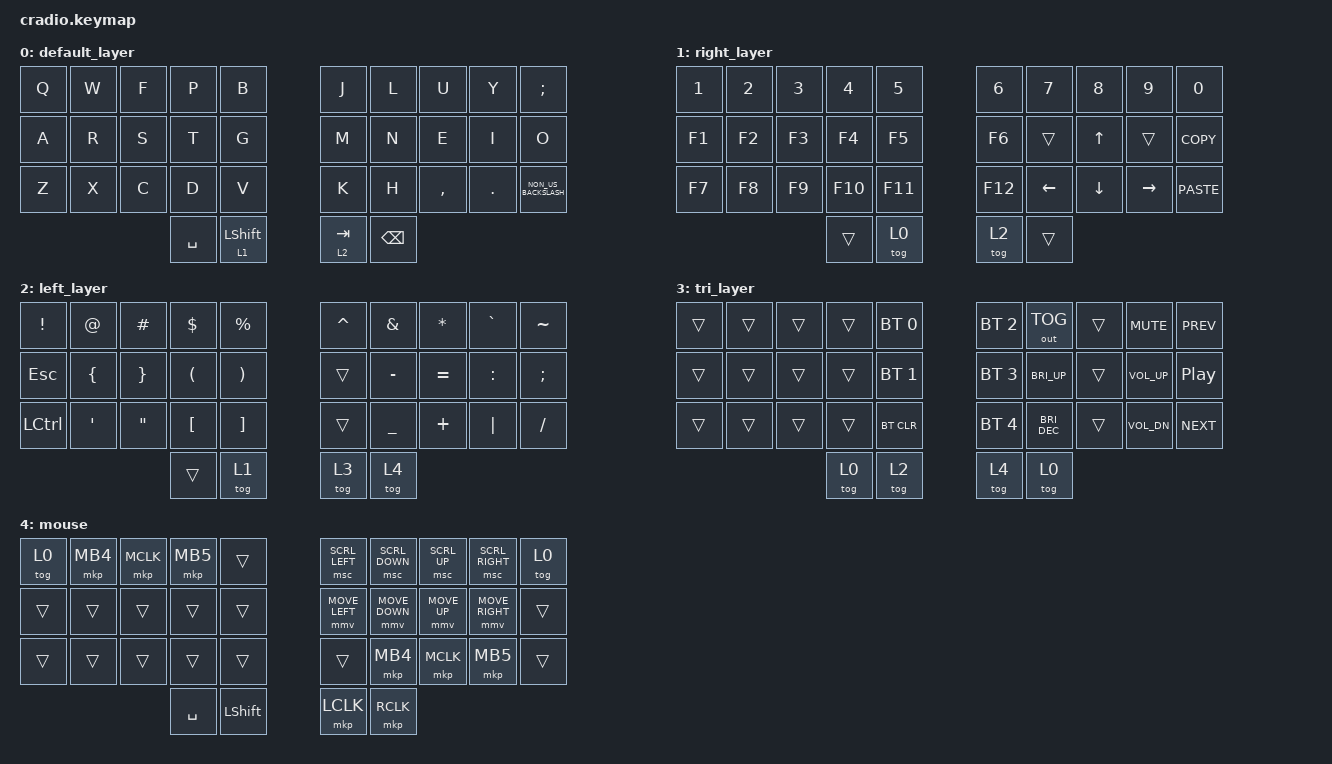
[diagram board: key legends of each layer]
// Copyright (c) 2022 The ZMK Contributors
// SPDX-License-Identifier: MIT

#define ZMK_MOUSE_DEFAULT_MOVE_VAL 2500  // 600
#define ZMK_MOUSE_DEFAULT_SCRL_VAL 20    // 10

#include <behaviors.dtsi>
#include <dt-bindings/zmk/bt.h>
#include <dt-bindings/zmk/keys.h>
#include <dt-bindings/zmk/mouse.h>
#include <dt-bindings/zmk/outputs.h>

#define MAC 0
#define WIN 1
#define RIG 2
#define LEF 3
#define TRI 4
#define MOUSE 5
#define U_MS_U &mmv MOVE_UP
#define U_MS_D &mmv MOVE_DOWN
#define U_MS_L &mmv MOVE_LEFT
#define U_MS_R &mmv MOVE_RIGHT
#define U_WH_U &msc SCRL_UP
#define U_WH_D &msc SCRL_DOWN
#define U_WH_L &msc SCRL_LEFT
#define U_WH_R &msc SCRL_RIGHT

/ {
    chosen { zmk,charmap = &charmap_us; };

    behaviors {
        ht: hold_tap {
            label = "hold_tap";
            compatible = "zmk,behavior-hold-tap";
            #binding-cells = <2>;
            flavor = "tap-preferred";
            tapping-term-ms = <220>;
            quick-tap-ms = <150>;
            global-quick-tap;
            bindings = <&kp>, <&kp>;
        };

        mmv {
            acceleration-exponent = <1>;      // 1
            time-to-max-speed-ms = <300>;    // 40
            delay-ms = <0>;                   // 0
        };

        msc {
            acceleration-exponent = <0>;      // 0
            time-to-max-speed-ms = <40>;      // 500
            delay-ms = <0>;                   // 10
        };
    };

    conditional_layers {
        compatible = "zmk,conditional-layers";

        tri_layer {
            if-layers = <1 2>;
            then-layer = <3>;
        };
    };

    combos {
        compatible = "zmk,combos";

        enter {
            bindings = <&kp ENTER>;
            key-positions = <30 33>;
        };
    };

    keymap {
        compatible = "zmk,keymap";

        default_layer {
            bindings = <
&kp Q  &kp W  &kp F  &kp P      &kp B          &kp J      &kp L          &kp U      &kp Y    &kp SEMICOLON
&kp A  &kp R  &kp S  &kp T      &kp G          &kp M      &kp N          &kp E      &kp I    &kp O
&kp Z  &kp X  &kp C  &kp D      &kp V          &kp K      &kp H          &kp COMMA  &kp DOT  &kp NON_US_BACKSLASH
                     &kp SPACE  &lt 1 LSHFT    &lt 2 TAB  &kp BACKSPACE
            >;
        };

        right_layer {
            bindings = <
&kp N1  &kp N2  &kp N3  &kp N4   &kp N5     &kp N6   &kp N7    &kp N8    &kp N9     &kp N0
&kp F1  &kp F2  &kp F3  &kp F4   &kp F5     &kp F6   &trans    &kp UP    &trans     &kp K_COPY
&kp F7  &kp F8  &kp F9  &kp F10  &kp F11    &kp F12  &kp LEFT  &kp DOWN  &kp RIGHT  &kp K_PASTE
                        &trans   &tog 0     &tog 2   &trans
            >;
        };

        left_layer {
            bindings = <
&kp EXCL   &kp AT    &kp HASH  &kp DLLR  &kp PRCNT    &kp CARET  &kp AMPS   &kp ASTRK  &kp GRAVE  &kp TILDE
&kp ESC    &kp LBRC  &kp RBRC  &kp LPAR  &kp RPAR     &trans     &kp MINUS  &kp EQUAL  &kp COLON  &kp SEMI
&kp LCTRL  &kp SQT   &kp DQT   &kp LBKT  &kp RBKT     &trans     &kp UNDER  &kp PLUS   &kp PIPE   &kp SLASH
                               &trans    &tog 1       &tog 3     &tog 4
            >;
        };

        tri_layer {
            bindings = <
&trans  &trans  &trans  &trans  &bt BT_SEL 0    &bt BT_SEL 2  &out OUT_TOG   &trans  &kp C_MUTE    &kp C_PREV
&trans  &trans  &trans  &trans  &bt BT_SEL 1    &bt BT_SEL 3  &kp C_BRI_UP   &trans  &kp C_VOL_UP  &kp C_PP
&trans  &trans  &trans  &trans  &bt BT_CLR      &bt BT_SEL 4  &kp C_BRI_DEC  &trans  &kp C_VOL_DN  &kp C_NEXT
                        &tog 0  &tog 2          &tog 4        &tog 0
            >;
        };

        mouse {
            bindings = <
&tog 0  &mkp MB4  &mkp MCLK  &mkp MB5   &trans        &msc SCRL_LEFT  &msc SCRL_DOWN  &msc SCRL_UP  &msc SCRL_RIGHT  &tog 0
&trans  &trans    &trans     &trans     &trans        &mmv MOVE_LEFT  &mmv MOVE_DOWN  &mmv MOVE_UP  &mmv MOVE_RIGHT  &trans
&trans  &trans    &trans     &trans     &trans        &trans          &mkp MB4        &mkp MCLK     &mkp MB5         &trans
                             &kp SPACE  &kp LSHIFT    &mkp LCLK       &mkp RCLK
            >;
        };
    };
};
